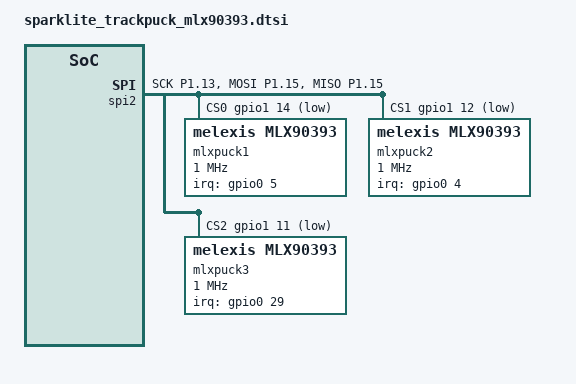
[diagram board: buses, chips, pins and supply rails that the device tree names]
/*
 * Copyright (c) 2020 Pete Johanson
 *
 * SPDX-License-Identifier: MIT
 */

&pinctrl {
    spi2_default: spi2_default {
        group1 {
            psels = <NRF_PSEL(SPIM_SCK, 1, 13)>,
                    <NRF_PSEL(SPIM_MOSI, 1, 15)>,
                    <NRF_PSEL(SPIM_MISO, 1, 15)>;
        };
    };
    spi2_sleep: spi2_sleep {
        group1 {
            psels = <NRF_PSEL(SPIM_SCK, 1, 13)>,
                    <NRF_PSEL(SPIM_MOSI, 1, 15)>,
                    <NRF_PSEL(SPIM_MISO, 1, 15)>;
            low-power-enable;
        };
    };
};

#include <dt-bindings/spi/spi.h>
&spi2 {
    compatible = "nordic,nrf-spim";
    status = "okay";
    pinctrl-0 = <&spi2_default>;
    pinctrl-1 = <&spi2_sleep>;
    pinctrl-names = "default", "sleep";
    cs-gpios = <&gpio1 14 (GPIO_ACTIVE_LOW | GPIO_PULL_UP)>
            , <&gpio1 12 (GPIO_ACTIVE_LOW | GPIO_PULL_UP)>
            , <&gpio1 11 (GPIO_ACTIVE_LOW | GPIO_PULL_UP)>;
    mlxpuck1: mlx90393@0 {
        compatible = "melexis,mlx90393";
        status = "okay";
        spi-max-frequency = <1000000>;
        reg = <0>;
        irq-gpios = <&gpio0 5 (GPIO_ACTIVE_HIGH | GPIO_PULL_DOWN)>;
        woc-thd-trim-pctg = <65>;
        smooth-len = <5>;
        downshift = <50>;
        rpt-dzn-x = <150>;
        rpt-dzn-y = <150>;
        rpt-dzn-z = <150>;
    };
    mlxpuck2: mlx90393@1 {
        compatible = "melexis,mlx90393";
        status = "okay";
        spi-max-frequency = <1000000>;
        reg = <1>;
        irq-gpios = <&gpio0 4 (GPIO_ACTIVE_HIGH | GPIO_PULL_DOWN)>;
        woc-thd-trim-pctg = <65>;
        smooth-len = <5>;
        downshift = <50>;
        rpt-dzn-x = <150>;
        rpt-dzn-y = <150>;
        rpt-dzn-z = <150>;
    };
    mlxpuck3: mlx90393@2 {
        compatible = "melexis,mlx90393";
        status = "okay";
        spi-max-frequency = <1000000>;
        reg = <2>;
        irq-gpios = <&gpio0 29 (GPIO_ACTIVE_HIGH | GPIO_PULL_DOWN)>;
        woc-thd-trim-pctg = <65>;
        smooth-len = <5>;
        downshift = <50>;
        rpt-dzn-x = <150>;
        rpt-dzn-y = <150>;
        rpt-dzn-z = <150>;
    };
};
